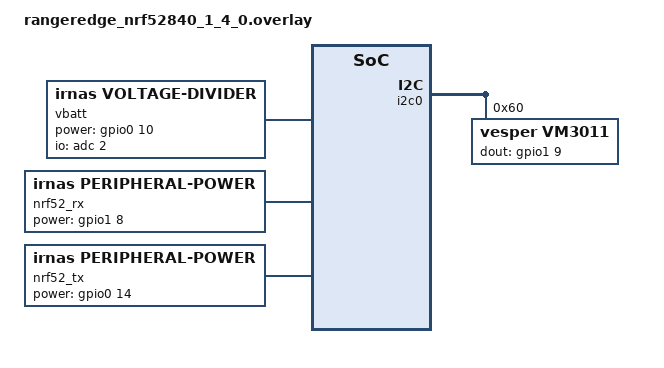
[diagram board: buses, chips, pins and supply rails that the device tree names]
/ {
    vbatt {
		compatible = "irnas,voltage-divider";
		io-channels = <&adc 2>;
		lower-resistor-ohms = <10000>;
		upper-resistor-ohms = <(10000)>;
		power-gpios = <&gpio0 10 GPIO_ACTIVE_HIGH>;
        power-startup-delay-ms=<200>;
        status = "okay";
	};

    pins: pins {
        compatible = "gpio-keys";
    };

    nrf52_rx  {
        compatible = "irnas,peripheral-power";
        power-gpios = <&gpio1 8 (GPIO_PULL_DOWN |GPIO_ACTIVE_HIGH)>;
        status = "okay";
        initial-state = <0>;
        configure-input;
    };

    nrf52_tx  {
        compatible = "irnas,peripheral-power";
        power-gpios = <&gpio0 14 (GPIO_PULL_DOWN |GPIO_ACTIVE_HIGH)>;
        status = "okay";
        initial-state = <0>;
        configure-input;
    };
};

&i2c0 {
    // microphone:
    vm3011: vm3011@60 {
        compatible = "vesper,vm3011";
        reg = <0x60>;

        data-pin = <46>;
        clk-pin = <45>;
        dout-gpios = <&gpio1 9 (GPIO_ACTIVE_HIGH)>;
    };
};
